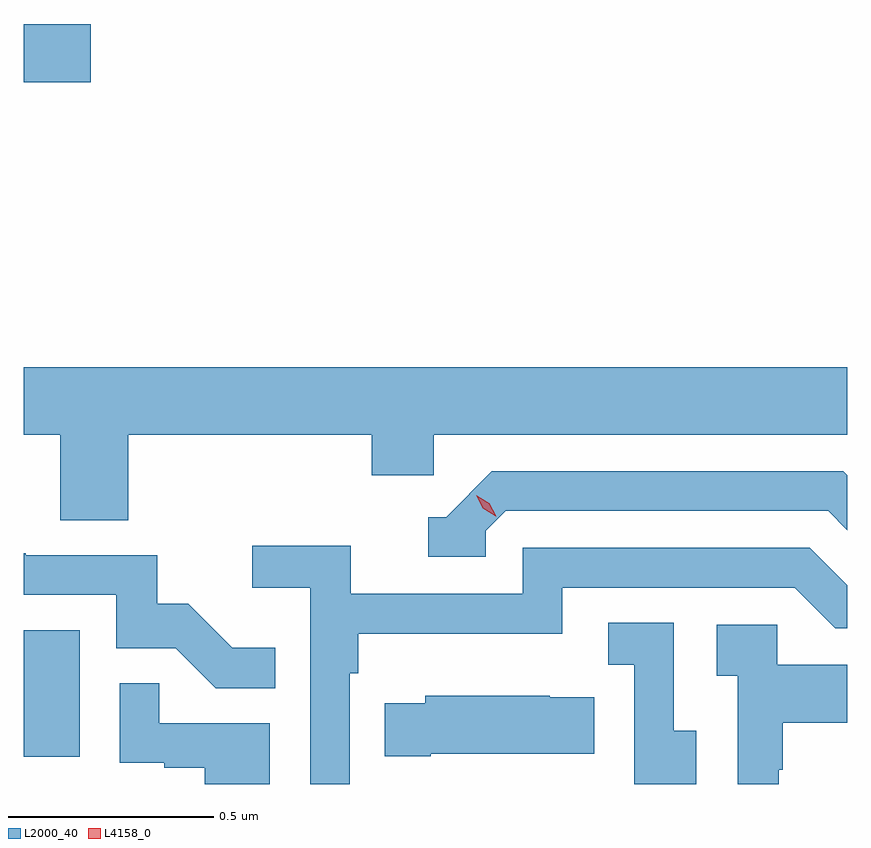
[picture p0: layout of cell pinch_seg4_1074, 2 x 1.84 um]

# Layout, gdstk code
import gdstk
lib = gdstk.Library(unit=1e-6, precision=1e-09)
def R(c, l, rs):  # rectangles x0, y0, x1, y1
    for r in rs: c.add(gdstk.rectangle(r[:2], r[2:], *l))
def P(c, l, *ps):  # polygons
    for p in ps: c.add(gdstk.Polygon(p, *l))
L2000_40 = (2000, 40)
L4158_0 = (4158, 0)

pinch_seg4_1074 = lib.new_cell('pinch_seg4_1074')
R(pinch_seg4_1074, L2000_40, [(863.76,756.078,863.896,756.385), (863.76,757.715,863.923,757.857)])
P(pinch_seg4_1074, L2000_40, [(864.014,756.86),(864.605,756.86),(864.605,756.762),(864.756,756.762),(864.756,756.86),(865.76,756.86),(865.76,757.024),(863.76,757.024),(863.76,756.86),(863.849,756.86),(863.849,756.652),(864.014,756.652)],
  [(864.882,756.627),(864.93,756.675),(865.713,756.675),(865.76,756.628),(865.76,756.761),(865.75,756.771),(864.897,756.771),(864.786,756.66),(864.743,756.66),(864.743,756.564),(864.882,756.564)],
  [(864.552,756.281),(864.572,756.281),(864.572,756.377),(865.068,756.377),(865.068,756.489),(865.632,756.489),(865.731,756.39),(865.76,756.39),(865.76,756.494),(865.669,756.585),(864.972,756.585),(864.972,756.474),(864.554,756.474),(864.554,756.59),(864.315,756.59),(864.315,756.488),(864.456,756.488),(864.456,756.012),(864.552,756.012)],
  [(864.371,756.343),(864.267,756.343),(864.16,756.45),(864.084,756.45),(864.084,756.567),(863.765,756.567),(863.765,756.572),(863.76,756.572),(863.76,756.471),(863.985,756.471),(863.985,756.342),(864.129,756.342),(864.227,756.244),(864.371,756.244)],
  [(865.393,756.141),(865.338,756.141),(865.338,756.404),(865.179,756.404),(865.179,756.301),(865.242,756.301),(865.242,756.012),(865.393,756.012)],
  [(865.593,756.047),(865.603,756.047),(865.603,756.161),(865.76,756.161),(865.76,756.301),(865.59,756.301),(865.59,756.399),(865.443,756.399),(865.443,756.275),(865.494,756.275),(865.494,756.012),(865.593,756.012)],
  [(864.358,756.159),(864.089,756.159),(864.089,756.257),(863.994,756.257),(863.994,756.063),(864.101,756.063),(864.101,756.051),(864.2,756.051),(864.2,756.012),(864.358,756.012)],
  [(864.748,756.086),(865.145,756.086),(865.145,756.223),(865.037,756.223),(865.037,756.226),(864.735,756.226),(864.735,756.208),(864.637,756.208),(864.637,756.079),(864.748,756.079)])
P(pinch_seg4_1074, L4158_0, [(864.906,756.662),(864.875,756.681),(864.859,756.713),(864.859,756.713),(864.859,756.713),(864.89,756.694),(864.907,756.662),(864.907,756.662)])

lib.write_gds('pinch_seg4_1074.gds')
